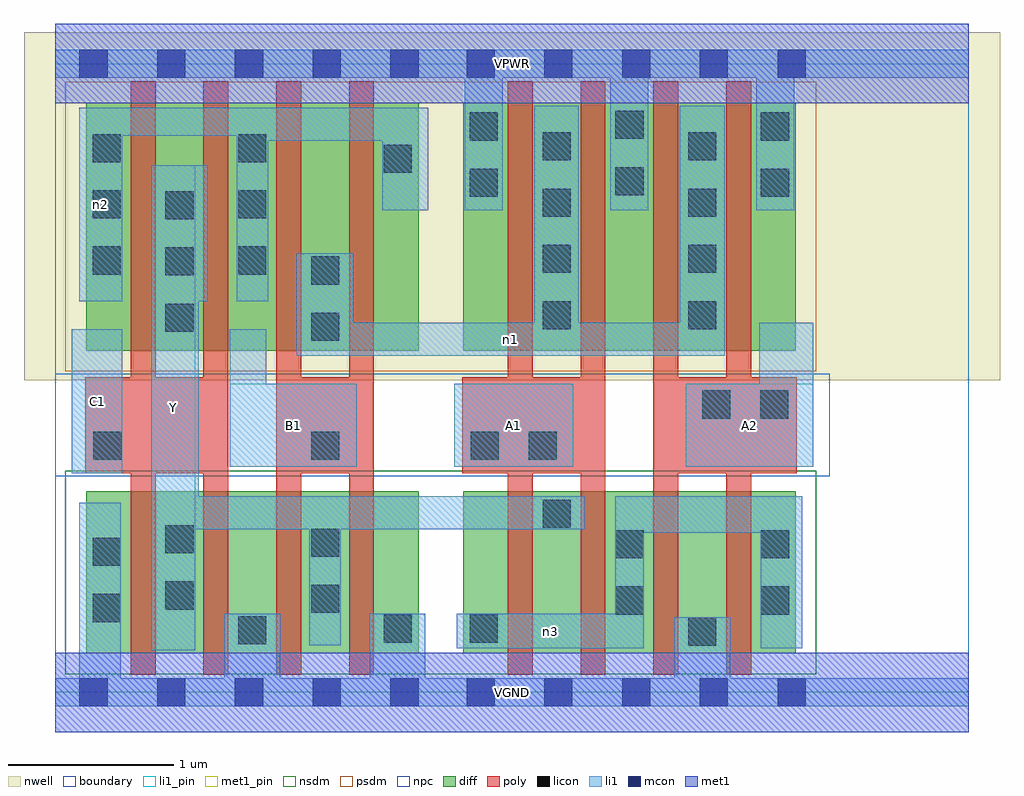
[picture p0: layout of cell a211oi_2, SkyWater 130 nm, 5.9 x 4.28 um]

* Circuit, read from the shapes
.subckt a211oi_2 A1 A2 B1 C1 VGND VPWR Y n1 n2 n3
XM1 Y C1 VGND VSUBS sky130_fd_pr__nfet_01v8 w=0.98 l=0.15 m=2
XM2 Y B1 VGND VSUBS sky130_fd_pr__nfet_01v8 w=0.98 l=0.15 m=2
XM3 Y A1 n3 VSUBS sky130_fd_pr__nfet_01v8 w=0.98 l=0.15 m=2
XM4 VGND A2 n3 VSUBS sky130_fd_pr__nfet_01v8 w=0.98 l=0.15 m=2
XM5 Y C1 n2 n4 sky130_fd_pr__pfet_01v8 w=1.5 l=0.15 m=2
XM6 n1 B1 n2 n4 sky130_fd_pr__pfet_01v8 w=1.5 l=0.15 m=2
XM7 n1 A1 VPWR n4 sky130_fd_pr__pfet_01v8 w=1.5 l=0.15 m=2
XM8 n1 A2 VPWR n4 sky130_fd_pr__pfet_01v8 w=1.5 l=0.15 m=2
.ends

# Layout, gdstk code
import gdstk
lib = gdstk.Library(unit=1e-6, precision=1e-09)
def R(c, l, rs):  # rectangles x0, y0, x1, y1
    for r in rs: c.add(gdstk.rectangle(r[:2], r[2:], *l))
def A(c, l, x, y, w, h, nx, ny, dx, dy):  # array of equal rectangles
    R(c, l, [(x+i*dx, y+j*dy, x+i*dx+w, y+j*dy+h) for i in range(nx) for j in range(ny)])
nwell = (64, 20)
diff = (65, 20)
poly = (66, 20)
licon = (66, 44)
li1_pin = (67, 16)
li1 = (67, 20)
mcon = (67, 44)
met1_pin = (68, 16)
met1 = (68, 20)
nsdm = (93, 44)
psdm = (94, 20)
npc = (95, 20)
boundary = (235, 4)

a211oi_2 = lib.new_cell('a211oi_2')
R(a211oi_2, nwell, [(-0.19,1.885,5.71,3.99), (0,1.885,5.52,3.99)])
R(a211oi_2, diff, [(0.185,0.235,2.195,1.215), (2.465,0.235,4.475,1.215), (0.185,2.065,2.195,3.565), (2.465,2.065,4.475,3.565)])
A(a211oi_2, poly, 0.455, 0.105, 0.15, 3.59, 4, 1, 0.44, 0)
A(a211oi_2, poly, 2.735, 0.105, 0.15, 3.59, 4, 1, 0.44, 0)
R(a211oi_2, poly, [(0.18,1.325,1.045,1.905), (1.335,1.325,1.925,1.905), (2.46,1.325,3.325,1.905), (3.615,1.325,4.48,1.905)])
A(a211oi_2, licon, 0.665, 2.18, 0.17, 0.17, 1, 3, 0, 0.34)
A(a211oi_2, licon, 2.945, 2.195, 0.17, 0.17, 1, 4, 0, 0.34)
A(a211oi_2, licon, 3.825, 2.195, 0.17, 0.17, 1, 4, 0, 0.34)
A(a211oi_2, licon, 0.225, 2.525, 0.17, 0.17, 1, 3, 0, 0.34)
A(a211oi_2, licon, 1.105, 2.525, 0.17, 0.17, 1, 3, 0, 0.34)
R(a211oi_2, licon, [(3.825,0.28,3.995,0.45), (1.105,0.29,1.275,0.46), (1.985,0.3,2.155,0.47), (2.505,0.3,2.675,0.47), (0.225,0.425,0.395,0.595), (3.385,0.47,3.555,0.64), (4.265,0.47,4.435,0.64), (1.545,0.48,1.715,0.65), (0.665,0.5,0.835,0.67), (0.225,0.765,0.395,0.935), (3.385,0.81,3.555,0.98), (4.265,0.81,4.435,0.98), (1.545,0.82,1.715,0.99), (0.665,0.84,0.835,1.01), (2.945,0.995,3.115,1.165), (0.23,1.405,0.4,1.575), (1.545,1.405,1.715,1.575), (2.51,1.405,2.68,1.575), (2.86,1.405,3.03,1.575), (3.91,1.655,4.08,1.825), (4.26,1.655,4.43,1.825), (1.545,2.125,1.715,2.295), (1.545,2.465,1.715,2.635), (2.505,2.995,2.675,3.165), (4.265,2.995,4.435,3.165), (3.385,3.005,3.555,3.175), (1.985,3.14,2.155,3.31), (2.505,3.335,2.675,3.505), (4.265,3.335,4.435,3.505), (3.385,3.345,3.555,3.515)])
R(a211oi_2, li1_pin, [(0.58,0.255,0.845,3.185), (0.1,1.325,0.405,2.195), (1.055,1.365,1.82,1.865), (2.41,1.365,3.13,1.865), (3.81,1.365,4.58,1.865)])
A(a211oi_2, li1, 2.475, 2.915, 0.23, 0.97, 3, 1, 0.88, 0)
R(a211oi_2, li1, [(0,-0.085,5.52,0.085), (0.145,-0.085,0.395,1.145), (1.02,-0.085,1.36,0.475), (1.9,-0.085,2.235,0.475), (3.74,-0.085,4.08,0.455), (0.58,0.255,0.845,3.185), (2.425,0.265,3.555,0.475), (3.385,0.265,3.555,1.185), (4.265,0.265,4.515,1.185), (1.535,0.285,1.725,1.185), (3.385,0.965,4.515,1.185), (0.58,0.985,3.2,1.185), (0.58,0.985,0.865,3.185), (0.1,1.325,0.405,2.195), (1.055,1.365,1.82,1.865), (1.055,1.365,1.275,2.195), (2.41,1.365,3.13,1.865), (3.81,1.365,4.58,1.865), (4.255,1.365,4.58,2.235), (1.46,2.035,4.045,2.235), (1.46,2.035,1.8,2.655), (2.895,2.035,3.165,3.545), (3.775,2.035,4.045,3.545), (0.145,2.365,0.405,3.535), (0.58,2.365,0.92,3.185), (1.095,2.365,1.285,3.535), (1.975,2.915,2.255,3.535), (1.095,3.335,2.255,3.535), (0.145,3.365,2.255,3.535), (0,3.715,5.52,3.885)])
A(a211oi_2, mcon, 0.145, -0.085, 0.17, 0.17, 5, 2, 0.47, 3.8)
A(a211oi_2, mcon, 2.485, -0.085, 0.17, 0.17, 5, 2, 0.47, 3.8)
R(a211oi_2, met1_pin, [(0,-0.24,5.52,0.24), (0,3.56,5.52,4.04)])
R(a211oi_2, met1, [(0,-0.24,5.52,0.24), (0,3.56,5.52,4.04)])
R(a211oi_2, nsdm, [(0.06,0.11,4.6,1.34)])
R(a211oi_2, psdm, [(0.06,1.94,4.6,3.69)])
R(a211oi_2, npc, [(0,1.305,4.68,1.925)])
R(a211oi_2, boundary, [(0,0,5.52,3.8)])
a211oi_2.add(gdstk.Label('A1', (2.77,1.615), layer=67, texttype=5))
a211oi_2.add(gdstk.Label('A2', (4.195,1.615), layer=67, texttype=5))
a211oi_2.add(gdstk.Label('B1', (1.437,1.615), layer=67, texttype=5))
a211oi_2.add(gdstk.Label('C1', (0.252,1.76), layer=67, texttype=5))
a211oi_2.add(gdstk.Label('Y', (0.712,1.72), layer=67, texttype=5))
a211oi_2.add(gdstk.Label('n3', (2.99,0.37), layer=67, texttype=5))
a211oi_2.add(gdstk.Label('n2', (0.275,2.95), layer=67, texttype=5))
a211oi_2.add(gdstk.Label('n1', (2.752,2.135), layer=67, texttype=5))
a211oi_2.add(gdstk.Label('VPWR', (2.76,3.8), layer=68, texttype=5))
a211oi_2.add(gdstk.Label('VGND', (2.76,0), layer=68, texttype=5))
a211oi_2.add(gdstk.Label('A1', (2.77,1.615), layer=67, texttype=16))
a211oi_2.add(gdstk.Label('A2', (4.195,1.615), layer=67, texttype=16))
a211oi_2.add(gdstk.Label('B1', (1.437,1.615), layer=67, texttype=16))
a211oi_2.add(gdstk.Label('C1', (0.252,1.76), layer=67, texttype=16))
a211oi_2.add(gdstk.Label('Y', (0.712,1.72), layer=67, texttype=16))
a211oi_2.add(gdstk.Label('VPWR', (2.76,3.8), layer=68, texttype=16))
a211oi_2.add(gdstk.Label('VGND', (2.76,0), layer=68, texttype=16))

lib.write_gds('a211oi_2.gds')
